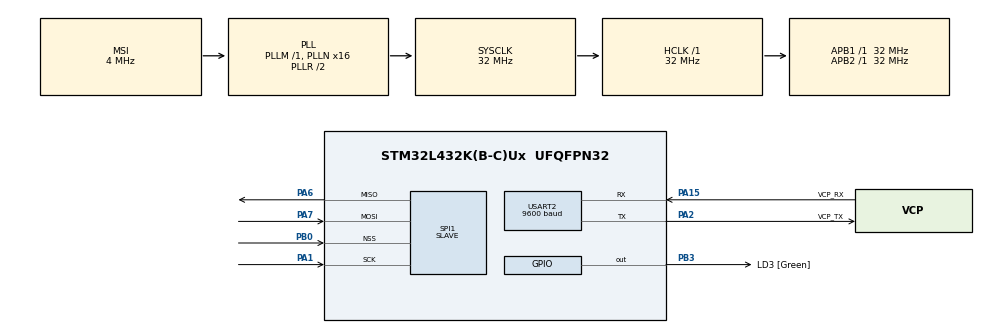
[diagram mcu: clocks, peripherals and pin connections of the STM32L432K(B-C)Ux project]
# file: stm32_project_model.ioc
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FREERTOS.Tasks01=defaultTask,0,128,StartDefaultTask,Default,NULL
Mcu.Family=STM32L4
Mcu.Name=STM32L432K(B-C)Ux
Mcu.Package=UFQFPN32
NVIC.PriorityGroup=NVIC_PRIORITYGROUP_4
NVIC.TIM1_UP_TIM16_IRQn=true\:0\:0\:false\:false\:true\:false\:false
NVIC.TimeBase=TIM1_UP_TIM16_IRQn
NVIC.TimeBaseIP=TIM1
PA0.GPIO_Label=MCO [High speed clock in]
PA0.Mode=HSE-External-Clock-Source-for-LittleOrca
PA0.Signal=RCC_CK_IN
PA1.Mode=Full_Duplex_Slave
PA1.Signal=SPI1_SCK
PA13\ (JTMS-SWDIO).GPIO_Label=SWDIO
PA13\ (JTMS-SWDIO).Mode=Serial_Wire
PA13\ (JTMS-SWDIO).Signal=SYS_JTMS-SWDIO
PA14\ (JTCK-SWCLK).GPIO_Label=SWCLK
PA14\ (JTCK-SWCLK).Mode=Serial_Wire
PA14\ (JTCK-SWCLK).Signal=SYS_JTCK-SWCLK
PA15\ (JTDI).GPIO_Label=VCP_RX
PA15\ (JTDI).Mode=Asynchronous
PA15\ (JTDI).Signal=USART2_RX
PA2.GPIO_Label=VCP_TX
PA2.Mode=Asynchronous
PA2.Signal=USART2_TX
PA6.Mode=Full_Duplex_Slave
PA6.Signal=SPI1_MISO
PA7.Mode=Full_Duplex_Slave
PA7.Signal=SPI1_MOSI
PB0.Mode=NSS_Signal_Hard_Input
PB0.Signal=SPI1_NSS
PB3\ (JTDO-TRACESWO).GPIO_Label=LD3 [Green]
PB3\ (JTDO-TRACESWO).Signal=GPIO_Output
PC14-OSC32_IN\ (PC14).Mode=LSE-External-Oscillator
PC14-OSC32_IN\ (PC14).Signal=RCC_OSC32_IN
PC15-OSC32_OUT\ (PC15).Mode=LSE-External-Oscillator
PC15-OSC32_OUT\ (PC15).Signal=RCC_OSC32_OUT
ProjectManager.HeapSize=0x200
ProjectManager.StackSize=0x400
ProjectManager.TargetToolchain=MDK-ARM V5
RCC.AHBFreq_Value=32000000
RCC.APB1Freq_Value=32000000
RCC.APB1TimFreq_Value=32000000
RCC.APB2Freq_Value=32000000
RCC.APB2TimFreq_Value=32000000
RCC.CortexFreq_Value=32000000
RCC.HCLKFreq_Value=32000000
RCC.HSE_VALUE=8000000
RCC.HSI16_VALUE=16000000
RCC.HSI48_VALUE=48000000
RCC.HSI_VALUE=16000000
RCC.MSI_VALUE=4000000
RCC.PLLMUL=RCC_PLLMUL_4
RCC.PLLN=16
RCC.SYSCLKFreq_VALUE=32000000
RCC.SYSCLKSource=RCC_SYSCLKSOURCE_PLLCLK
RCC.VCOOutputFreq_Value=64000000
SPI1.Direction=SPI_DIRECTION_2LINES
SPI1.Mode=SPI_MODE_SLAVE
SPI1.VirtualNSS=VM_NSSHARD
SPI1.VirtualType=VM_SLAVE
USART2.BaudRate=9600
USART2.VirtualMode-Asynchronous=VM_ASYNC
VP_FREERTOS_VS_ENABLE.Mode=Enabled
VP_SYS_VS_tim1.Mode=TIM1
board=NUCLEO-L432KC

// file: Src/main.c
/**
  ******************************************************************************
  * @file           : main.c
  * @brief          : Main program body
  ******************************************************************************
  * This notice applies to any and all portions of this file
  * that are not between comment pairs USER CODE BEGIN and
  * USER CODE END. Other portions of this file, whether
  * inserted by the user or by software development tools
  * are owned by their respective copyright owners.
  *
  * Copyright (c) 2018 STMicroelectronics International N.V.
  * All rights reserved.
  *
  * Redistribution and use in source and binary forms, with or without
  * modification, are permitted, provided that the following conditions are met:
  *
  * 1. Redistribution of source code must retain the above copyright notice,
  *    this list of conditions and the following disclaimer.
  * 2. Redistributions in binary form must reproduce the above copyright notice,
  *    this list of conditions and the following disclaimer in the documentation
  *    and/or other materials provided with the distribution.
  * 3. Neither the name of STMicroelectronics nor the names of other
  *    contributors to this software may be used to endorse or promote products
  *    derived from this software without specific written permission.
  * 4. This software, including modifications and/or derivative works of this
  *    software, must execute solely and exclusively on microcontroller or
  *    microprocessor devices manufactured by or for STMicroelectronics.
  * 5. Redistribution and use of this software other than as permitted under
  *    this license is void and will automatically terminate your rights under
  *    this license.
  *
  * THIS SOFTWARE IS PROVIDED BY STMICROELECTRONICS AND CONTRIBUTORS "AS IS"
  * AND ANY EXPRESS, IMPLIED OR STATUTORY WARRANTIES, INCLUDING, BUT NOT
  * LIMITED TO, THE IMPLIED WARRANTIES OF MERCHANTABILITY, FITNESS FOR A
  * PARTICULAR PURPOSE AND NON-INFRINGEMENT OF THIRD PARTY INTELLECTUAL PROPERTY
  * RIGHTS ARE DISCLAIMED TO THE FULLEST EXTENT PERMITTED BY LAW. IN NO EVENT
  * SHALL STMICROELECTRONICS OR CONTRIBUTORS BE LIABLE FOR ANY DIRECT, INDIRECT,
  * INCIDENTAL, SPECIAL, EXEMPLARY, OR CONSEQUENTIAL DAMAGES (INCLUDING, BUT NOT
  * LIMITED TO, PROCUREMENT OF SUBSTITUTE GOODS OR SERVICES; LOSS OF USE, DATA,
  * OR PROFITS; OR BUSINESS INTERRUPTION) HOWEVER CAUSED AND ON ANY THEORY OF
  * LIABILITY, WHETHER IN CONTRACT, STRICT LIABILITY, OR TORT (INCLUDING
  * NEGLIGENCE OR OTHERWISE) ARISING IN ANY WAY OUT OF THE USE OF THIS SOFTWARE,
  * EVEN IF ADVISED OF THE POSSIBILITY OF SUCH DAMAGE.
  *
  ******************************************************************************
  */
#include "main.h"
#include "stm32l4xx_hal.h"
#include "cmsis_os.h"

SPI_HandleTypeDef hspi1;

UART_HandleTypeDef huart2;

osThreadId defaultTaskHandle;

/* USER CODE BEGIN PV */
/* Private variables ---------------------------------------------------------*/
uint8_t buffer_hello[20] = "Hello World!\n\r";
osThreadId secondTaskHandle;
/* USER CODE END PV */

void SystemClock_Config(void);
static void MX_GPIO_Init(void);
static void MX_USART2_UART_Init(void);
static void MX_SPI1_Init(void);
void StartDefaultTask(void const * argument);

/* USER CODE BEGIN PFP */
/* Private function prototypes -----------------------------------------------*/
void print_data_spi();
void receive_data_spi();
void StartSecondTask(void const * argument);
/* USER CODE END PFP */

int main(void)
{

  /* MCU Configuration----------------------------------------------------------*/

  /* Reset of all peripherals, Initializes the Flash interface and the Systick. */
  HAL_Init();

  /* Configure the system clock */
  SystemClock_Config();

  /* Initialize all configured peripherals */
  MX_GPIO_Init();
  MX_USART2_UART_Init();
  MX_SPI1_Init();

  /* Create the thread(s) */
  /* definition and creation of defaultTask */
  osThreadDef(defaultTask, StartDefaultTask, osPriorityNormal, 0, 128);
  defaultTaskHandle = osThreadCreate(osThread(defaultTask), NULL);

  /* USER CODE BEGIN RTOS_THREADS */
  /* add threads, ... */
	osThreadDef(secondTask, StartSecondTask, osPriorityNormal, 0, 128);
  secondTaskHandle = osThreadCreate(osThread(secondTask), NULL);
  /* USER CODE END RTOS_THREADS */

  /* Start scheduler */
  osKernelStart();

  /* We should never get here as control is now taken by the scheduler */

  /* Infinite loop */
  while (1)
  {

  }

}

void SystemClock_Config(void)
{

  RCC_OscInitTypeDef RCC_OscInitStruct;
  RCC_ClkInitTypeDef RCC_ClkInitStruct;
  RCC_PeriphCLKInitTypeDef PeriphClkInit;

    /**Configure LSE Drive Capability
    */
  HAL_PWR_EnableBkUpAccess();

  __HAL_RCC_LSEDRIVE_CONFIG(RCC_LSEDRIVE_LOW);

    /**Initializes the CPU, AHB and APB busses clocks
    */
  RCC_OscInitStruct.OscillatorType = RCC_OSCILLATORTYPE_LSE|RCC_OSCILLATORTYPE_MSI;
  RCC_OscInitStruct.LSEState = RCC_LSE_ON;
  RCC_OscInitStruct.MSIState = RCC_MSI_ON;
  RCC_OscInitStruct.MSICalibrationValue = 0;
  RCC_OscInitStruct.MSIClockRange = RCC_MSIRANGE_6;
  RCC_OscInitStruct.PLL.PLLState = RCC_PLL_ON;
  RCC_OscInitStruct.PLL.PLLSource = RCC_PLLSOURCE_MSI;
  RCC_OscInitStruct.PLL.PLLM = 1;
  RCC_OscInitStruct.PLL.PLLN = 16;
  RCC_OscInitStruct.PLL.PLLP = RCC_PLLP_DIV7;
  RCC_OscInitStruct.PLL.PLLQ = RCC_PLLQ_DIV2;
  RCC_OscInitStruct.PLL.PLLR = RCC_PLLR_DIV2;
  if (HAL_RCC_OscConfig(&RCC_OscInitStruct) != HAL_OK)
  {
    _Error_Handler(__FILE__, __LINE__);
  }

    /**Initializes the CPU, AHB and APB busses clocks
    */
  RCC_ClkInitStruct.ClockType = RCC_CLOCKTYPE_HCLK|RCC_CLOCKTYPE_SYSCLK
                              |RCC_CLOCKTYPE_PCLK1|RCC_CLOCKTYPE_PCLK2;
  RCC_ClkInitStruct.SYSCLKSource = RCC_SYSCLKSOURCE_PLLCLK;
  RCC_ClkInitStruct.AHBCLKDivider = RCC_SYSCLK_DIV1;
  RCC_ClkInitStruct.APB1CLKDivider = RCC_HCLK_DIV1;
  RCC_ClkInitStruct.APB2CLKDivider = RCC_HCLK_DIV1;

  if (HAL_RCC_ClockConfig(&RCC_ClkInitStruct, FLASH_LATENCY_1) != HAL_OK)
  {
    _Error_Handler(__FILE__, __LINE__);
  }

  PeriphClkInit.PeriphClockSelection = RCC_PERIPHCLK_USART2;
  PeriphClkInit.Usart2ClockSelection = RCC_USART2CLKSOURCE_PCLK1;
  if (HAL_RCCEx_PeriphCLKConfig(&PeriphClkInit) != HAL_OK)
  {
    _Error_Handler(__FILE__, __LINE__);
  }

    /**Configure the main internal regulator output voltage
    */
  if (HAL_PWREx_ControlVoltageScaling(PWR_REGULATOR_VOLTAGE_SCALE1) != HAL_OK)
  {
    _Error_Handler(__FILE__, __LINE__);
  }

    /**Configure the Systick interrupt time
    */
  HAL_SYSTICK_Config(HAL_RCC_GetHCLKFreq()/1000);

    /**Configure the Systick
    */
  HAL_SYSTICK_CLKSourceConfig(SYSTICK_CLKSOURCE_HCLK);

    /**Enable MSI Auto calibration
    */
  HAL_RCCEx_EnableMSIPLLMode();

  /* SysTick_IRQn interrupt configuration */
  HAL_NVIC_SetPriority(SysTick_IRQn, 15, 0);
}

/* SPI1 init function */
static void MX_SPI1_Init(void)
{

  /* SPI1 parameter configuration*/
  hspi1.Instance = SPI1;
  hspi1.Init.Mode = SPI_MODE_SLAVE;
  hspi1.Init.Direction = SPI_DIRECTION_2LINES;
  hspi1.Init.DataSize = SPI_DATASIZE_4BIT;
  hspi1.Init.CLKPolarity = SPI_POLARITY_LOW;
  hspi1.Init.CLKPhase = SPI_PHASE_1EDGE;
  hspi1.Init.NSS = SPI_NSS_HARD_INPUT;
  hspi1.Init.FirstBit = SPI_FIRSTBIT_MSB;
  hspi1.Init.TIMode = SPI_TIMODE_DISABLE;
  hspi1.Init.CRCCalculation = SPI_CRCCALCULATION_DISABLE;
  hspi1.Init.CRCPolynomial = 7;
  hspi1.Init.CRCLength = SPI_CRC_LENGTH_DATASIZE;
  hspi1.Init.NSSPMode = SPI_NSS_PULSE_DISABLE;
  if (HAL_SPI_Init(&hspi1) != HAL_OK)
  {
    _Error_Handler(__FILE__, __LINE__);
  }

}

/* USART2 init function */
static void MX_USART2_UART_Init(void)
{

  huart2.Instance = USART2;
  huart2.Init.BaudRate = 9600;
  huart2.Init.WordLength = UART_WORDLENGTH_8B;
  huart2.Init.StopBits = UART_STOPBITS_1;
  huart2.Init.Parity = UART_PARITY_NONE;
  huart2.Init.Mode = UART_MODE_TX_RX;
  huart2.Init.HwFlowCtl = UART_HWCONTROL_NONE;
  huart2.Init.OverSampling = UART_OVERSAMPLING_16;
  huart2.Init.OneBitSampling = UART_ONE_BIT_SAMPLE_DISABLE;
  huart2.AdvancedInit.AdvFeatureInit = UART_ADVFEATURE_NO_INIT;
  if (HAL_UART_Init(&huart2) != HAL_OK)
  {
    _Error_Handler(__FILE__, __LINE__);
  }

}

/** Configure pins as
        * Analog
        * Input
        * Output
        * EVENT_OUT
        * EXTI
*/
static void MX_GPIO_Init(void)
{

  GPIO_InitTypeDef GPIO_InitStruct;

  /* GPIO Ports Clock Enable */
  __HAL_RCC_GPIOC_CLK_ENABLE();
  __HAL_RCC_GPIOA_CLK_ENABLE();
  __HAL_RCC_GPIOB_CLK_ENABLE();

  /*Configure GPIO pin Output Level */
  HAL_GPIO_WritePin(LD3_GPIO_Port, LD3_Pin, GPIO_PIN_RESET);

  /*Configure GPIO pin : LD3_Pin */
  GPIO_InitStruct.Pin = LD3_Pin;
  GPIO_InitStruct.Mode = GPIO_MODE_OUTPUT_PP;
  GPIO_InitStruct.Pull = GPIO_NOPULL;
  GPIO_InitStruct.Speed = GPIO_SPEED_FREQ_LOW;
  HAL_GPIO_Init(LD3_GPIO_Port, &GPIO_InitStruct);

}

/* USER CODE BEGIN 4 */
void print_data_spi()
{
	HAL_UART_Transmit(&huart2, buffer_hello, 20, 100);
}

void receive_data_spi()
{
	HAL_GPIO_TogglePin(LD3_GPIO_Port, LD3_Pin);
}

void StartSecondTask(void const * argument)
{
  for(;;)
  {
		print_hello();
		HAL_Delay(1000);
    osDelay(1);
  }
}

/* USER CODE END 4 */

void StartDefaultTask(void const * argument)
{

  /* USER CODE BEGIN 5 */
  /* Infinite loop */
  for(;;)
  {
		blink_led();
		HAL_Delay(1000);
    osDelay(1);
  }
  /* USER CODE END 5 */
}

void HAL_TIM_PeriodElapsedCallback(TIM_HandleTypeDef *htim)
{
  if (htim->Instance == TIM1) {
    HAL_IncTick();
  }
}

void _Error_Handler(char *file, int line)
{
  while(1)
  {
  }
}

/************************ (C) COPYRIGHT STMicroelectronics *****END OF FILE****/
